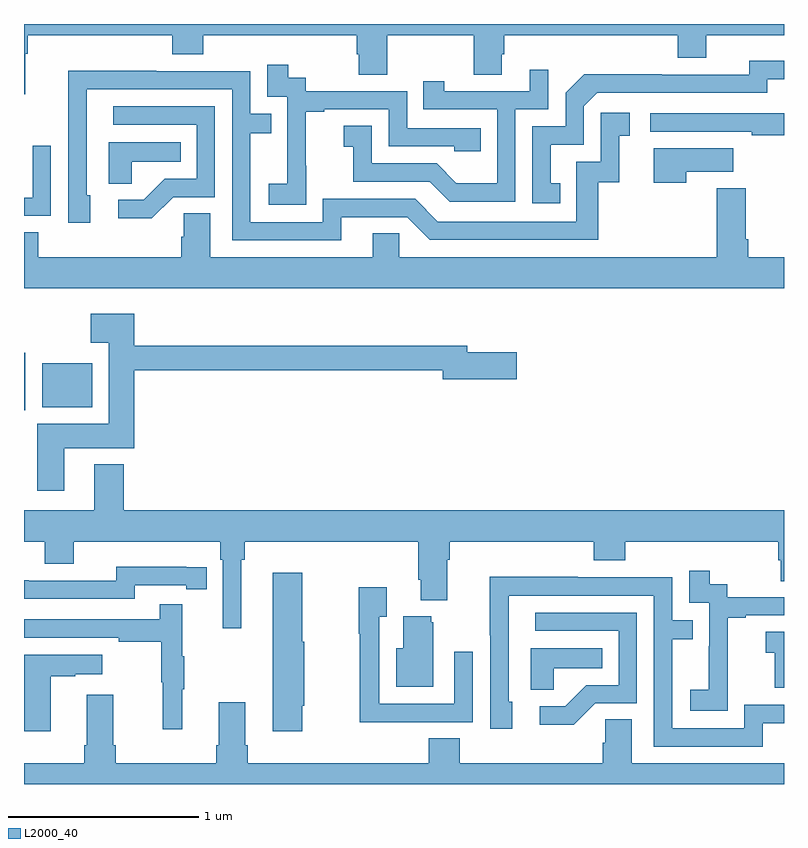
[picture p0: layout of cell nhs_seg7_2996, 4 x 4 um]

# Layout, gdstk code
import gdstk
lib = gdstk.Library(unit=1e-6, precision=1e-09)
def R(c, l, rs):  # rectangles x0, y0, x1, y1
    for r in rs: c.add(gdstk.rectangle(r[:2], r[2:], *l))
def P(c, l, *ps):  # polygons
    for p in ps: c.add(gdstk.Polygon(p, *l))
L2000_40 = (2000, 40)

nhs_seg7_2996 = lib.new_cell('nhs_seg7_2996')
R(nhs_seg7_2996, L2000_40, [(303,1007.966,303.007,1008.271), (303.095,1007.984,303.358,1008.214)])
P(nhs_seg7_2996, L2000_40, [(303,1009.631),(303.007,1009.631),(303.007,1009.844),(303.02,1009.844),(303.02,1009.94),(303.779,1009.94),(303.779,1009.841),(303.944,1009.841),(303.944,1009.94),(304.751,1009.94),(304.751,1009.842),(304.763,1009.842),(304.763,1009.732),(304.911,1009.732),(304.911,1009.94),(305.368,1009.94),(305.368,1009.732),(305.515,1009.732),(305.515,1009.842),(305.528,1009.842),(305.528,1009.94),(306.44,1009.94),(306.44,1009.823),(306.592,1009.823),(306.592,1009.94),(307,1009.94),(307,1010),(303,1010)],
  [(305.822,1009.161),(305.773,1009.161),(305.773,1009.365),(305.946,1009.365),(305.946,1009.566),(306.018,1009.638),(306.912,1009.638),(306.912,1009.71),(307,1009.71),(307,1009.807),(306.816,1009.807),(306.816,1009.734),(306.356,1009.734),(306.356,1009.736),(305.948,1009.736),(305.85,1009.638),(305.85,1009.461),(305.676,1009.461),(305.676,1009.056),(305.822,1009.056)],
  [(304.485,1009.255),(304.484,1009.255),(304.484,1009.539),(304.579,1009.539),(304.579,1009.551),(304.92,1009.551),(304.92,1009.356),(305.265,1009.356),(305.265,1009.329),(305.405,1009.329),(305.405,1009.452),(305.016,1009.452),(305.016,1009.647),(304.482,1009.647),(304.482,1009.716),(304.39,1009.716),(304.39,1009.786),(304.281,1009.786),(304.281,1009.617),(304.386,1009.617),(304.386,1009.388),(304.385,1009.388),(304.385,1009.159),(304.287,1009.159),(304.287,1009.049),(304.485,1009.049)],
  [(305.586,1009.551),(305.76,1009.551),(305.76,1009.759),(305.663,1009.759),(305.663,1009.647),(305.212,1009.647),(305.212,1009.699),(305.101,1009.699),(305.101,1009.551),(305.49,1009.551),(305.49,1009.162),(305.276,1009.162),(305.172,1009.266),(304.83,1009.266),(304.83,1009.465),(304.683,1009.465),(304.683,1009.355),(304.732,1009.355),(304.732,1009.17),(305.135,1009.17),(305.24,1009.065),(305.586,1009.065)],
  [(304.669,1008.984),(305.016,1008.984),(305.136,1008.864),(306.023,1008.864),(306.023,1009.167),(306.134,1009.167),(306.134,1009.413),(306.187,1009.413),(306.187,1009.534),(306.036,1009.534),(306.036,1009.275),(305.907,1009.275),(305.907,1008.96),(305.178,1008.96),(305.058,1009.08),(304.572,1009.08),(304.572,1008.957),(304.191,1008.957),(304.191,1009.426),(304.301,1009.426),(304.301,1009.527),(304.191,1009.527),(304.191,1009.752),(303.695,1009.752),(303.695,1009.754),(303.232,1009.754),(303.232,1009.447),(303.234,1009.447),(303.234,1008.954),(303.349,1008.954),(303.349,1009.098),(303.33,1009.098),(303.33,1009.656),(304.095,1009.656),(304.095,1008.861),(304.669,1008.861)],
  [(303.786,1009.089),(304.005,1009.089),(304.005,1009.566),(303.471,1009.566),(303.471,1009.47),(303.909,1009.47),(303.909,1009.185),(303.74,1009.185),(303.629,1009.074),(303.495,1009.074),(303.495,1008.977),(303.673,1008.977)],
  [(307,1009.53),(306.297,1009.53),(306.297,1009.434),(306.829,1009.434),(306.829,1009.414),(307,1009.414)],
  [(303.567,1009.274),(303.824,1009.274),(303.824,1009.378),(303.446,1009.378),(303.446,1009.159),(303.567,1009.159)],
  [(303.141,1009.36),(303.045,1009.36),(303.045,1009.086),(303,1009.086),(303,1008.99),(303.141,1008.99)],
  [(306.485,1009.223),(306.733,1009.223),(306.733,1009.345),(306.314,1009.345),(306.314,1009.164),(306.485,1009.164)],
  [(307,1008.772),(306.812,1008.772),(306.812,1008.868),(306.799,1008.868),(306.799,1009.135),(306.647,1009.135),(306.647,1008.772),(304.974,1008.772),(304.974,1008.899),(304.835,1008.899),(304.835,1008.772),(303.979,1008.772),(303.979,1009.004),(303.84,1009.004),(303.84,1008.881),(303.827,1008.881),(303.827,1008.772),(303.074,1008.772),(303.074,1008.905),(303,1008.905),(303,1008.608),(307,1008.608)],
  [(303.211,1007.768),(303.581,1007.768),(303.581,1008.178),(305.204,1008.178),(305.204,1008.131),(305.593,1008.131),(305.593,1008.273),(305.332,1008.273),(305.332,1008.307),(303.581,1008.307),(303.581,1008.475),(303.351,1008.475),(303.351,1008.323),(303.446,1008.323),(303.446,1007.896),(303.071,1007.896),(303.071,1007.544),(303.211,1007.544)],
  [(304.144,1007.18),(304.163,1007.18),(304.163,1007.276),(305.075,1007.276),(305.075,1007.074),(305.087,1007.074),(305.087,1006.967),(305.227,1006.967),(305.227,1007.18),(305.24,1007.18),(305.24,1007.276),(305.999,1007.276),(305.999,1007.177),(306.164,1007.177),(306.164,1007.276),(306.971,1007.276),(306.971,1007.178),(306.983,1007.178),(306.983,1007.068),(307,1007.068),(307,1007.44),(303.524,1007.44),(303.524,1007.683),(303.371,1007.683),(303.371,1007.44),(303,1007.44),(303,1007.276),(303.11,1007.276),(303.11,1007.159),(303.262,1007.159),(303.262,1007.276),(304.034,1007.276),(304.034,1007.18),(304.047,1007.18),(304.047,1006.821),(304.144,1006.821)],
  [(303.582,1007.046),(303.854,1007.046),(303.854,1007.026),(303.962,1007.026),(303.962,1007.142),(303.854,1007.142),(303.854,1007.143),(303.486,1007.143),(303.486,1007.07),(303.026,1007.07),(303.026,1007.072),(303,1007.072),(303,1006.974),(303.582,1006.974)],
  [(306.705,1006.591),(306.704,1006.591),(306.704,1006.875),(306.799,1006.875),(306.799,1006.887),(307,1006.887),(307,1006.983),(306.702,1006.983),(306.702,1007.052),(306.61,1007.052),(306.61,1007.122),(306.501,1007.122),(306.501,1006.953),(306.606,1006.953),(306.606,1006.724),(306.605,1006.724),(306.605,1006.495),(306.507,1006.495),(306.507,1006.385),(306.705,1006.385)],
  [(304.464,1006.413),(304.474,1006.413),(304.474,1006.749),(304.464,1006.749),(304.464,1007.113),(304.31,1007.113),(304.31,1006.278),(304.464,1006.278)],
  [(306.889,1006.32),(307,1006.32),(307,1006.416),(306.792,1006.416),(306.792,1006.293),(306.411,1006.293),(306.411,1006.762),(306.521,1006.762),(306.521,1006.863),(306.411,1006.863),(306.411,1007.088),(305.915,1007.088),(305.915,1007.09),(305.452,1007.09),(305.452,1006.783),(305.454,1006.783),(305.454,1006.29),(305.569,1006.29),(305.569,1006.434),(305.55,1006.434),(305.55,1006.992),(306.315,1006.992),(306.315,1006.197),(306.889,1006.197)],
  [(305.045,1006.326),(305.361,1006.326),(305.361,1006.696),(305.265,1006.696),(305.265,1006.422),(304.869,1006.422),(304.869,1006.879),(304.909,1006.879),(304.909,1007.035),(304.761,1007.035),(304.761,1006.79),(304.768,1006.79),(304.768,1006.325),(305.045,1006.325)],
  [(303.833,1006.499),(303.844,1006.499),(303.844,1006.673),(303.833,1006.673),(303.833,1006.945),(303.715,1006.945),(303.715,1006.866),(303,1006.866),(303,1006.77),(303.499,1006.77),(303.499,1006.75),(303.723,1006.75),(303.723,1006.536),(303.73,1006.536),(303.73,1006.287),(303.833,1006.287)],
  [(306.006,1006.425),(306.225,1006.425),(306.225,1006.902),(305.691,1006.902),(305.691,1006.806),(306.129,1006.806),(306.129,1006.521),(305.96,1006.521),(305.849,1006.41),(305.715,1006.41),(305.715,1006.313),(305.893,1006.313)],
  [(305.155,1006.851),(305.144,1006.851),(305.144,1006.882),(304.997,1006.882),(304.997,1006.714),(304.958,1006.714),(304.958,1006.511),(305.155,1006.511)],
  [(307,1006.801),(306.903,1006.801),(306.903,1006.691),(306.952,1006.691),(306.952,1006.506),(307,1006.506)],
  [(305.787,1006.61),(306.044,1006.61),(306.044,1006.714),(305.666,1006.714),(305.666,1006.495),(305.787,1006.495)],
  [(303.142,1006.567),(303.269,1006.567),(303.269,1006.577),(303.412,1006.577),(303.412,1006.681),(303,1006.681),(303,1006.278),(303.142,1006.278)],
  [(307,1006.108),(306.199,1006.108),(306.199,1006.34),(306.06,1006.34),(306.06,1006.217),(306.047,1006.217),(306.047,1006.108),(305.294,1006.108),(305.294,1006.241),(305.129,1006.241),(305.129,1006.108),(304.178,1006.108),(304.178,1006.204),(304.165,1006.204),(304.165,1006.429),(304.025,1006.429),(304.025,1006.204),(304.013,1006.204),(304.013,1006.108),(303.482,1006.108),(303.482,1006.204),(303.469,1006.204),(303.469,1006.471),(303.329,1006.471),(303.329,1006.204),(303.317,1006.204),(303.317,1006.108),(303,1006.108),(303,1006),(307,1006)])

lib.write_gds('nhs_seg7_2996.gds')
